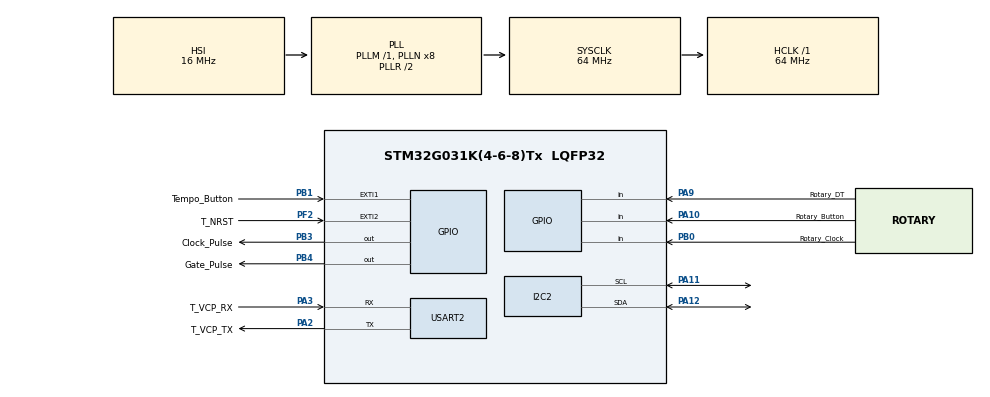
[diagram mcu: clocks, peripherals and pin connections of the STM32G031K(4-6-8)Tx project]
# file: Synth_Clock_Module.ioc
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I2C2.Timing=0x10707DBC
Mcu.Family=STM32G0
Mcu.Name=STM32G031K(4-6-8)Tx
Mcu.Package=LQFP32
NVIC.EXTI0_1_IRQn=true\:0\:0\:true\:false\:true\:true\:true\:true
NVIC.TIM2_IRQn=true\:0\:0\:true\:false\:true\:true\:true\:true
PA10.GPIO_Label=Rotary_Button
PA10.Signal=GPIO_Input
PA11\ [PA9].Mode=I2C
PA11\ [PA9].Signal=I2C2_SCL
PA12\ [PA10].Mode=I2C
PA12\ [PA10].Signal=I2C2_SDA
PA13.GPIO_Label=T_JTMS
PA13.Mode=Serial_Wire
PA13.Signal=SYS_SWDIO
PA14-BOOT0.GPIO_Label=T_JTCK
PA14-BOOT0.Mode=Serial_Wire
PA14-BOOT0.Signal=SYS_SWCLK
PA2.GPIO_Label=T_VCP_TX
PA2.GPIO_PuPd=GPIO_PULLUP
PA2.Mode=Asynchronous
PA2.Signal=USART2_TX
PA3.GPIO_Label=T_VCP_RX
PA3.GPIO_PuPd=GPIO_PULLUP
PA3.Mode=Asynchronous
PA3.Signal=USART2_RX
PA9.GPIO_Label=Rotary_DT
PA9.Signal=GPIO_Input
PB0.GPIO_Label=Rotary_Clock
PB0.Signal=GPIO_Input
PB1.GPIO_Label=Tempo_Button
PB1.GPIO_ModeDefaultEXTI=GPIO_MODE_IT_FALLING
PB1.GPIO_PuPd=GPIO_PULLUP
PB1.Signal=GPXTI1
PB3.GPIO_Label=Clock_Pulse
PB3.Signal=GPIO_Output
PB4.GPIO_Label=Gate_Pulse
PB4.Signal=GPIO_Output
PC14-OSC32_IN\ (PC14).Mode=LSE-External-Oscillator
PC14-OSC32_IN\ (PC14).Signal=RCC_OSC32_IN
PC15-OSC32_OUT\ (PC15).Mode=LSE-External-Oscillator
PC15-OSC32_OUT\ (PC15).Signal=RCC_OSC32_OUT
PF2\ -\ NRST.GPIO_Label=T_NRST
PF2\ -\ NRST.Signal=GPXTI2
ProjectManager.HeapSize=0x200
ProjectManager.StackSize=0x400
ProjectManager.TargetToolchain=STM32CubeIDE
RCC.ADCFreq_Value=64000000
RCC.AHBFreq_Value=64000000
RCC.CortexFreq_Value=64000000
RCC.EXTERNAL_CLOCK_VALUE=12288000
RCC.HCLKFreq_Value=64000000
RCC.HSE_VALUE=8000000
RCC.HSI_VALUE=16000000
RCC.SYSCLKFreq_VALUE=64000000
RCC.SYSCLKSource=RCC_SYSCLKSOURCE_PLLCLK
RCC.VCOOutputFreq_Value=128000000
TIM2.AutoReloadPreload=TIM_AUTORELOAD_PRELOAD_ENABLE
TIM2.Period=1500
TIM2.Prescaler=0
USART2.VirtualMode-Asynchronous=VM_ASYNC
USART2.WordLength=WORDLENGTH_8B
VP_TIM2_VS_ClockSourceINT.Mode=Internal
board=NUCLEO-G031K8

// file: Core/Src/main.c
/* USER CODE BEGIN Header */
/**
  ******************************************************************************
  * @file           : main.c
  * @brief          : Responsible for scheduling events and initializing system components.
  * @author 		: Brandon Thibeaux
  * @date 			: Jan 1, 2023
  ******************************************************************************
  * @attention
  *
  * Copyright (c) 2023 STMicroelectronics.
  * All rights reserved.
  *
  * This software is licensed under terms that can be found in the LICENSE file
  * in the root directory of this software component.
  * If no LICENSE file comes with this software, it is provided AS-IS.
  *
  ******************************************************************************
  */
/* USER CODE END Header */
#include "main.h"
#include "i2c.h"
#include "tim.h"
#include "usart.h"
#include "gpio.h"

/* USER CODE BEGIN Includes */
#include "ssd1306.h"
#include "ssd1306_tests.h"
#include <stdbool.h>
#include "Globals.h"
#include "Structures.h"
#include "App_Config.h"
/* USER CODE END Includes */

/* USER CODE BEGIN PM */
#define DEBUG_BUFFER_SIZE 100
/* USER CODE END PM */

void SystemClock_Config(void);
void CheckStateMachines(RotaryKnob* knob, Application* app);
void UpdateWindow(Application* app,Clock* clk);
/* USER CODE BEGIN PFP */
void Tempo_Button(uint16_t GPIO_Pin);
void print();
/* USER CODE END PFP */

/* USER CODE BEGIN 0 */

uint8_t DEBUG_PRINT_BUFFER[DEBUG_BUFFER_SIZE];

uint32_t last_tick = 0;
uint32_t last_tick_debouce = 0;
uint8_t tempo_debounce_interval = 100;
uint8_t TempoButtonDebouce = 0; // Flag that we use to create our own wait mechanism
/* USER CODE END 0 */

int main(void)
{

  /* MCU Configuration--------------------------------------------------------*/

  /* Reset of all peripherals, Initializes the Flash interface and the Systick. */
  HAL_Init();

  /* USER CODE BEGIN Init */
  // init variables
  uint8_t bpmButton = 0;
  unsigned char toggleButton = 0 ; // make sure code executes on falling edge
  unsigned long timeoutCount ; // in miliseconds to reset tap count
  bool startTimeout = false;
  uint32_t tap_average_period = 0;

  // init clock objects
  last_tick = HAL_GetTick();
  last_tick_debouce = HAL_GetTick();
  time1 = HAL_GetTick();
  time2 = HAL_GetTick();

  clock1.pin = Clock_Pulse_Pin;
  clock1.port = GPIOB; // assign port number
  clock1.bpm = 120;
  UpdateBPM(clock1.bpm,&clock1);
//  clock1.period = 250; // BPM 120

  clock2.pin = Gate_Pulse_Pin;
  clock2.port = GPIOB;

  clock2.period = 250;

  // Init App
  Application app;
  app.appMode = FREQUENCY_CONTROL;

  // init rotary encoder
  selectKnob.flag = NONE;
  selectKnob.incrementState = 0;
  selectKnob.decrementState = 0;

  selectKnob.sw.port = GPIOA;
  selectKnob.sw.pin = Rotary_Button_Pin;
  selectKnob.sw.buttonState = RELEASED;
  selectKnob.port_dt = GPIOA;
  selectKnob.dt = Rotary_DT_Pin;
  selectKnob.port_clk = Rotary_Clock_GPIO_Port;
  selectKnob.clk = Rotary_Clock_Pin;

  // init tempo button
  tempoButton.button.buttonState = RELEASED;
  tempoButton.button.port = Tempo_Button_GPIO_Port;
  tempoButton.button.pin = Tempo_Button_Pin;
  tempoButton.tap_count = 0;
  tempoButton.tap_interval_buffer_size = 4; // specify how big our buffer is allowed to be
  tempoButton.tap_intervals = malloc(tempoButton.tap_interval_buffer_size * sizeof(uint32_t)); // allocate array
  memset(tempoButton.tap_intervals,0,tempoButton.tap_interval_buffer_size);// initialize with 0s

  /* USER CODE END Init */

  /* Configure the system clock */
  SystemClock_Config();

  /* Initialize all configured peripherals */
  MX_GPIO_Init();
  MX_USART2_UART_Init();
  MX_I2C2_Init();
  MX_TIM2_Init();
  /* USER CODE BEGIN 2 */

  // Init display vars
  uint16_t refreshcounter = 0;
  ssd1306_Init();
//  ssd1306_TestFPS();

#ifdef freq_debug
	sprintf(DEBUG_PRINT_BUFFER,"BPM: %d\r\n",clock1.bpm);
	print(DEBUG_PRINT_BUFFER,DEBUG_BUFFER_SIZE);
#endif

// Start Clock Pulse Timer ISR
  HAL_TIM_Base_Start_IT(&htim2);
//  HAL_GPIO_EXTI_IRQHandler(Tempo_Button_Pin);
  /* USER CODE END 2 */

  /* Infinite loop */
  /* USER CODE BEGIN WHILE */

  while (1)
  {
// ********************* Display Code *******************

      // Display refresh
      if (refreshcounter >= 50)
      {
         UpdateWindow(&app,&clock1);
         refreshcounter = 0;
      }
       refreshcounter++;
// ********************* Rotary Encoder Code *******************
	  CheckSwitch(&selectKnob);
	  CheckDecrement(&selectKnob);
	  CheckIncrement(&selectKnob);
	  CheckStateMachines(&selectKnob, &app);
      UpdateDutyCycle(&clock1);
// ********************* TEMPO BUTTON CODE *********************

	  // Allow another button press to be captured
	  uint32_t now = HAL_GetTick();
	  while(((last_tick_debouce + tempo_debounce_interval)< now) && (TempoButtonDebouce == 1))
	  {
		  TempoButtonDebouce = 0; // lower flag
	  }

	  // Tempo Button Logic if pressed
	  GPIO_PinState buttonRead = HAL_GPIO_ReadPin(tempoButton.button.port, tempoButton.button.pin);
	  if((tempoButton.button.buttonState == PRESSED) && (buttonRead ==  GPIO_PIN_SET) && (!TempoButtonDebouce))
	  {
		  //clean up
		  tempoButton.button.buttonState = RELEASED;

#ifdef TempoISR_DEBUG
		  sprintf(DEBUG_PRINT_BUFFER,"* Tempo Button released. tap count: %d\r\n",tempoButton.tap_count);
		  print(DEBUG_PRINT_BUFFER,DEBUG_BUFFER_SIZE);
#endif

		  // if we have more than 1 sample, do this
		  if(tempoButton.tap_count > 0)
		  {
			  // REMEMBER we start at 1 and don't get to 0 until we get to 4
			  tempoButton.tap_intervals[(tempoButton.tap_count % tempoButton.tap_interval_buffer_size)] = (HAL_GetTick() - last_tick);

#ifdef TempoISR_DEBUG
			  sprintf(DEBUG_PRINT_BUFFER,"* Time interval: %d\r\n",tempoButton.tap_intervals[(tempoButton.tap_count % tempoButton.tap_interval_buffer_size)]);
			  print(DEBUG_PRINT_BUFFER,DEBUG_BUFFER_SIZE);
#endif
		  }
		  tempoButton.tap_count++;
		  last_tick = HAL_GetTick();

	  }

	  if((HAL_GetTick()>(last_tick+timeoutValue)) && (tempoButton.tap_count>0))
	  {
		  tap_average_period = 0; // temp variable

		  // Get Average
		  for(int i = 1; i<tempoButton.tap_interval_buffer_size+1; i++)
		  {
			  volatile uint32_t temp = tempoButton.tap_intervals[i%tempoButton.tap_interval_buffer_size];
			  tap_average_period = tap_average_period + temp;
		  }
		  // TODO Use bit shifting for division
		  tap_average_period  = (tap_average_period/tempoButton.tap_interval_buffer_size);

		  // Store average period to clock object and sync other stats
		  clock1.period = round(tap_average_period/2);
		  clock1.freqHz = (float)((float)(1/(float)(clock1.period )*1000)/2); // FIXME: Not sure why but this works and float CalculateFrequency(uint32_t ms) does not
		  clock1.bpm = clock1.freqHz * 60;

		  // clean up
		  tempoButton.tap_count = 0;

#ifdef TempoISR_DEBUG
		  	  sprintf(DEBUG_PRINT_BUFFER,"Average Period (ms): %d\r\n",clock1.period);
		  	  print(DEBUG_PRINT_BUFFER,DEBUG_BUFFER_SIZE);
		  	  sprintf(DEBUG_PRINT_BUFFER,"Frequency (hz): %.2f\r\n",clock1.freqHz);
		  	  print(DEBUG_PRINT_BUFFER,DEBUG_BUFFER_SIZE);
		  	  sprintf(DEBUG_PRINT_BUFFER,"BPM: %d\r\n",clock1.bpm);
		  	  print(DEBUG_PRINT_BUFFER,DEBUG_BUFFER_SIZE);
			  sprintf(DEBUG_PRINT_BUFFER,"****************************\r\n");
			  print(DEBUG_PRINT_BUFFER,DEBUG_BUFFER_SIZE);
#endif
	  }
// ********************* Tempo Button END *********************

    /* USER CODE END WHILE */

  }
}

void SystemClock_Config(void)
{
  RCC_OscInitTypeDef RCC_OscInitStruct = {0};
  RCC_ClkInitTypeDef RCC_ClkInitStruct = {0};

  /** Configure the main internal regulator output voltage
  */
  HAL_PWREx_ControlVoltageScaling(PWR_REGULATOR_VOLTAGE_SCALE1);

  /** Initializes the RCC Oscillators according to the specified parameters
  * in the RCC_OscInitTypeDef structure.
  */
  RCC_OscInitStruct.OscillatorType = RCC_OSCILLATORTYPE_HSI;
  RCC_OscInitStruct.HSIState = RCC_HSI_ON;
  RCC_OscInitStruct.HSIDiv = RCC_HSI_DIV1;
  RCC_OscInitStruct.HSICalibrationValue = RCC_HSICALIBRATION_DEFAULT;
  RCC_OscInitStruct.PLL.PLLState = RCC_PLL_ON;
  RCC_OscInitStruct.PLL.PLLSource = RCC_PLLSOURCE_HSI;
  RCC_OscInitStruct.PLL.PLLM = RCC_PLLM_DIV1;
  RCC_OscInitStruct.PLL.PLLN = 8;
  RCC_OscInitStruct.PLL.PLLP = RCC_PLLP_DIV2;
  RCC_OscInitStruct.PLL.PLLQ = RCC_PLLQ_DIV2;
  RCC_OscInitStruct.PLL.PLLR = RCC_PLLR_DIV2;
  if (HAL_RCC_OscConfig(&RCC_OscInitStruct) != HAL_OK)
  {
    Error_Handler();
  }

  /** Initializes the CPU, AHB and APB buses clocks
  */
  RCC_ClkInitStruct.ClockType = RCC_CLOCKTYPE_HCLK|RCC_CLOCKTYPE_SYSCLK
                              |RCC_CLOCKTYPE_PCLK1;
  RCC_ClkInitStruct.SYSCLKSource = RCC_SYSCLKSOURCE_PLLCLK;
  RCC_ClkInitStruct.AHBCLKDivider = RCC_SYSCLK_DIV1;
  RCC_ClkInitStruct.APB1CLKDivider = RCC_HCLK_DIV1;

  if (HAL_RCC_ClockConfig(&RCC_ClkInitStruct, FLASH_LATENCY_2) != HAL_OK)
  {
    Error_Handler();
  }
}

/* USER CODE BEGIN 4 */
uint8_t middleX =20;
void UpdateWindow(Application* app,Clock* clk)
{
	uint8_t page_buffer[100];
	switch(app->appMode)
	{
	  case(FREQUENCY_CONTROL):
	  {
		ssd1306_Fill(White);

	    ssd1306_SetCursor(1,0);
//		ssd1306_WriteString("Frequency Control:", Font_6x8, Black);
		uint16_t adjustedPeriod = clk->period *2;// FIXME, I think the real stats are doubled than the value being displayed

	    sprintf(page_buffer,"BPM : %d",clock1.bpm);
	    ssd1306_SetCursor(1,0);
		ssd1306_WriteString(page_buffer, Font_6x8, Black);

	    sprintf(page_buffer,"Period (ms): %d",clock1.period);
	    ssd1306_SetCursor(1,10);
		ssd1306_WriteString(page_buffer, Font_6x8, Black);

	    sprintf(page_buffer,"Frequency (Hz): %.2f",clock1.freqHz);
	    ssd1306_SetCursor(1,20);
		ssd1306_WriteString(page_buffer, Font_6x8, Black);

	    ssd1306_UpdateScreen();
		break;
	  }

	  case(DUTYCYCLE_CONTROL):
	  {
		ssd1306_Fill(White);
		float mappedValue = ((clk->dutyCycleValue - -0.9)/(0.9 - -0.9))*(0.1-0.9)+0.9; // calculate and map the input number dutycylce value to some number that we can apply as a multipler to our graph
		uint8_t buffX = middleX * mappedValue *2; // adding *2 to offset and balance out some ratio problems

		sprintf(page_buffer,"Duty Cycle : %.2f",clock1.dutyCycleValue);
	    ssd1306_SetCursor(1,0);
		ssd1306_WriteString(page_buffer, Font_6x8, Black);

		ssd1306_Line(1,10,0,SSD1306_HEIGHT - 1,Black);
		ssd1306_Line(1,10,buffX,10,Black);
		ssd1306_Line(buffX,10,buffX,SSD1306_HEIGHT - 1,Black);
		ssd1306_Line(buffX,SSD1306_HEIGHT - 1,40,SSD1306_HEIGHT - 1,Black);
		ssd1306_Line(40,10,40,SSD1306_HEIGHT - 1,Black);

	    ssd1306_UpdateScreen();
//		display.clearDisplay();
//
//		display.setTextSize(1);      // Normal 1:1 pixel scale
//		display.setTextColor(SSD1306_WHITE); // Draw white text
//		display.setCursor(0, 0);     // Start at top-left corner
//		display.cp437(true);         // Use full 256 char 'Code Page 437' font
//
//		// Not all the characters will fit on the display. This is normal.
//		// Library will draw what it can and the rest will be clipped.
//		display.write("DUTYCYCLE CONTROL\n");
//
//		float mappedValue = ((clk->dutyCycleValue - -0.9)/(0.9 - -0.9))*(0.1-0.9)+0.9; // calculate and map the input number dutycylce value to some number that we can apply as a multipler to our graph
//		uint8_t buffX = middleX * mappedValue *2; // adding *2 to offset and balance out some ratio problems
//		// draw graph
//		display.drawLine(0, 10, 0, display.height()-1, SSD1306_WHITE);
//		display.drawLine(0, 10, buffX, 10, SSD1306_WHITE); // display.height()-1 mean bottom of screen
//		display.drawLine(buffX, 10, buffX, display.height()-1, SSD1306_WHITE);
//		display.drawLine(buffX, display.height()-1, 40, display.height()-1, SSD1306_WHITE);
//		display.drawLine(40, 10, 40, display.height()-1, SSD1306_WHITE);
//		// display stats
//		display.print("        + Duty Cycle: \n          ");display.print(mappedValue * 100); display.print("%");
//		display.display();
		break;
	  }
	  case(GATE_CONTROL):
	  {
		ssd1306_Fill(White);

	    sprintf(page_buffer,"Gate Control");
	    ssd1306_SetCursor(1,0);
		ssd1306_WriteString(page_buffer, Font_6x8, Black);

	    sprintf(page_buffer,"Beat Division: %d",divider);
	    ssd1306_SetCursor(1,10);
		ssd1306_WriteString(page_buffer, Font_6x8, Black);

		ssd1306_UpdateScreen();

		break;
	  }
//	  default:
//	  {
//		display.clearDisplay();
//
//		display.setTextSize(1);      // Normal 1:1 pixel scale
//		display.setTextColor(SSD1306_WHITE); // Draw white text
//		display.setCursor(0, 0);     // Start at top-left corner
//		display.cp437(true);         // Use full 256 char 'Code Page 437' font
//
//		// Not all the characters will fit on the display. This is normal.
//		// Library will draw what it can and the rest will be clipped.
//		display.write("Error, default case detected");
//
//		display.display();
//		break;
//	  }
	}
}

void CheckStateMachines(RotaryKnob* knob, Application* app)
{
	switch(knob->flag)
	{
		case(NONE):
		{
		  //Serial.println("No flag"); // debug
		  break;
		}
		case(INCREMENT):
		{
		  //Serial.println("Increment case");
		  switch(app->appMode)
		  {
			case(FREQUENCY_CONTROL):
			{
			  UpdateBPM((clock1.bpm += 1), &clock1);

			  #ifdef freq_debug
				sprintf(DEBUG_PRINT_BUFFER,"BPM: %d\r\n",clock1.bpm);
				print(DEBUG_PRINT_BUFFER,DEBUG_BUFFER_SIZE);
			  #endif

			  break;
			}
			case(DUTYCYCLE_CONTROL):
			{
			  if(clock1.dutyCycleValue + 0.1 < 0.9)
			  {
				clock1.dutyCycleValue += 0.1;

			#ifdef dutycycle_debug
				sprintf(DEBUG_PRINT_BUFFER,"Dutycycle: %.2f\r\n",clock1.dutyCycleValue);
				print(DEBUG_PRINT_BUFFER,DEBUG_BUFFER_SIZE);
			#endif
			  }
			  else
			  {
				clock1.dutyCycleValue = 0.9;
			  }

			  break;
			}
			case(GATE_CONTROL):
			{
			  divider += 1;
			#ifdef gate_debug
				sprintf(DEBUG_PRINT_BUFFER,"Gate: %d\r\n",divider);
				print(DEBUG_PRINT_BUFFER,DEBUG_BUFFER_SIZE);
			#endif
			  break;
			}
			default:
			{
			  #ifdef debug
			  Serial.println("Defualt increment app case");
			  #endif

			  app->appMode = FREQUENCY_CONTROL;
			  break;
			}
		  }
		  break;
		}
		case(DECREMENT):
		{
		  //Serial.println("Decrement case");
		  switch(app->appMode)
		  {
			case(FREQUENCY_CONTROL):
			{
			  UpdateBPM((clock1.bpm -= 1),&clock1);

			  #ifdef freq_debug
				sprintf(DEBUG_PRINT_BUFFER,"BPM: %d\r\n",clock1.bpm);
				print(DEBUG_PRINT_BUFFER,DEBUG_BUFFER_SIZE);
			  #endif

			  break;
			}
			case(DUTYCYCLE_CONTROL):
			{
			  if(clock1.dutyCycleValue - 0.1 > -0.9)
			  {
				clock1.dutyCycleValue -= 0.1;

			#ifdef dutycycle_debug
				sprintf(DEBUG_PRINT_BUFFER,"Dutycycle: %.2f\r\n",clock1.dutyCycleValue);
				print(DEBUG_PRINT_BUFFER,DEBUG_BUFFER_SIZE);
			#endif
			  }
			  else
			  {
				clock1.dutyCycleValue = -0.9;
			  }
			  break;
			}
			case(GATE_CONTROL):
			{
			  divider -= 1;
			#ifdef gate_debug
				sprintf(DEBUG_PRINT_BUFFER,"Gate: %d\r\n",divider);
				print(DEBUG_PRINT_BUFFER,DEBUG_BUFFER_SIZE);
			#endif
			  break;
			}
			default:
			{
			  #ifdef debug
			  Serial.println("Defualt decrement app case");
			  #endif

			  app->appMode = FREQUENCY_CONTROL;
			  break;
			}
		  }
		 break;
		}
		case(SWITCH):
		{
		  switch(app->appMode)
		  {
			case(FREQUENCY_CONTROL):
			{
			  app->appMode = DUTYCYCLE_CONTROL;

#ifdef freq_debug
	sprintf(DEBUG_PRINT_BUFFER,"App Mode: Duty Cycle\r\n");
	print(DEBUG_PRINT_BUFFER,DEBUG_BUFFER_SIZE);
#endif
			  break;
			}
			case(DUTYCYCLE_CONTROL):
			{
			  app->appMode = GATE_CONTROL;

#ifdef dutycycle_debug
	sprintf(DEBUG_PRINT_BUFFER,"App Mode: Gate Control\r\n");
	print(DEBUG_PRINT_BUFFER,DEBUG_BUFFER_SIZE);
#endif
			  break;
			}
			case(GATE_CONTROL):
			{
			  app->appMode = FREQUENCY_CONTROL;

#ifdef gate_debug
	sprintf(DEBUG_PRINT_BUFFER,"App Mode: Frequency\r\n");
	print(DEBUG_PRINT_BUFFER,DEBUG_BUFFER_SIZE);
#endif
			  break;
			}
			default:
			{
			  app->appMode = FREQUENCY_CONTROL;
			  break;
			}
		  }
		  break;
		}
		default:
		{break;}
	  }
	  knob->flag = NONE; // flag reset

}

void HAL_GPIO_EXTI_Falling_Callback(uint16_t GPIO_Pin)
{
	// if we have already entered this state raise this flag. It will later be released in the main loop
	if(TempoButtonDebouce)
	{
		return;
	}
	GPIO_PinState buttonRead = HAL_GPIO_ReadPin(tempoButton.button.port, tempoButton.button.pin);

	if(GPIO_Pin == Tempo_Button_Pin && tempoButton.button.buttonState == RELEASED && buttonRead == GPIO_PIN_RESET)
	{
		// load data
		tempoButton.button.buttonState = PRESSED;
	}
	TempoButtonDebouce = 1; // raise debouce wait flag
	last_tick_debouce = HAL_GetTick();
}

// This ISR is in charge of pulsing our output clock pins. It schedules when each pin needs to be turn on or off depending
void HAL_TIM_PeriodElapsedCallback(TIM_HandleTypeDef *htim)
{
	if(htim == &htim2)
	{

		if (divider < 0)
		{
			divider = 0;
		}
		else if(divider > 4)
		{
			divider = 4;
		}

		uint8_t offset = 0; // We are trying to compensate for the delay in scheduling due to the constant calculations and condition testing that needs to be performed in this ISR, it dirty but it works good enough.
		if(divider == 3)
		{
			offset = 1;
		}
		else if(divider == 4)
		{
			offset = 1;
		}
		else
		{
			offset = 0;
		}
		calculatedEnd = (1<<divider);
		calculatedWaitPeriod = ((clock1.period  + (delaybuffer))>>divider) + offset;
		clock2.period = clock1.period; // we want clock2 to be some kind of ratio dervied from clock 1.

		//delaybuffer = delaybuffer/divider;
		// Note: I do not want to rework the whole program to control clock 2. Rather What if we executed this task a
			//fraction of the time so we can toggle clock2 on and off and safe gaurd clock1 with an if statment. This way the tempo will keep its integrity and we still get a controllable gate clock.

			// We want to be able to say clock1.period = 250 ms and clock2. period = clock1.period/4. But to do this we need to execute, toggle and test these conditions more times than we toggle toggle our tempo clock (clock1).
			// so we may need to redefine out schedule condition, take the period of clock 1 and execute task a fraction of that time period. Enabling us to sync and schedule both clock pulses with some ease.

		if(HAL_GetTick() - time1 >= calculatedWaitPeriod)// pulse // Adding an offset of 10 to realign and compensate for delay caused by division, approx 10 ms.
		{
		  #ifdef debug
		  Serial.print("wait period after processing: ");
		  Serial.println(calculatedWaitPeriod);
		  #endif

		  // update time variables
		  time1 = HAL_GetTick();
		  // hard code pin high and pin low using counter%2 ==  0
		  // so we can add small delay to the high if or the low else to adjust duty cycle
		  switch(pulseToggle)
		  {
			case(0):
			{
			  HAL_GPIO_WritePin(clock2.port, clock2.pin, 1) ;
			  pulseToggle = 1;
			  delaybuffer = clock1.posDutyCycleDelay;
			  dividerCount++;
			  switch(dividerCount >= calculatedEnd )
			  {
				case(1):
				{
					HAL_GPIO_WritePin(clock1.port, clock1.pin, 1) ;
				  dividerCount = 0;
				  break;
				}default:
				{break;}
			  }
			  break;
			}

			case(1):
			{
				HAL_GPIO_WritePin(clock2.port, clock2.pin, 0) ;
				pulseToggle = 0;
				delaybuffer = clock1.negDutyCycleDelay;
				dividerCount2++;
				switch(dividerCount2 >= calculatedEnd )
				{
				  case(1):
				  {
					  HAL_GPIO_WritePin(clock1.port, clock1.pin, 0) ;
					dividerCount2 = 0;
					break;
				  }
				  default:
				  {break;}
				}

				break;
			}
			default:
			{
			  pulseToggle = 0;
			  break;
			}
		  }

		}

	}
}
void print(uint8_t* data, size_t size)
{
	HAL_UART_Transmit(&huart2, data,size, 100);
	memset(data,0,size);
}
/* USER CODE END 4 */

void Error_Handler(void)
{
  __disable_irq();
  while (1)
  {
  }
}
